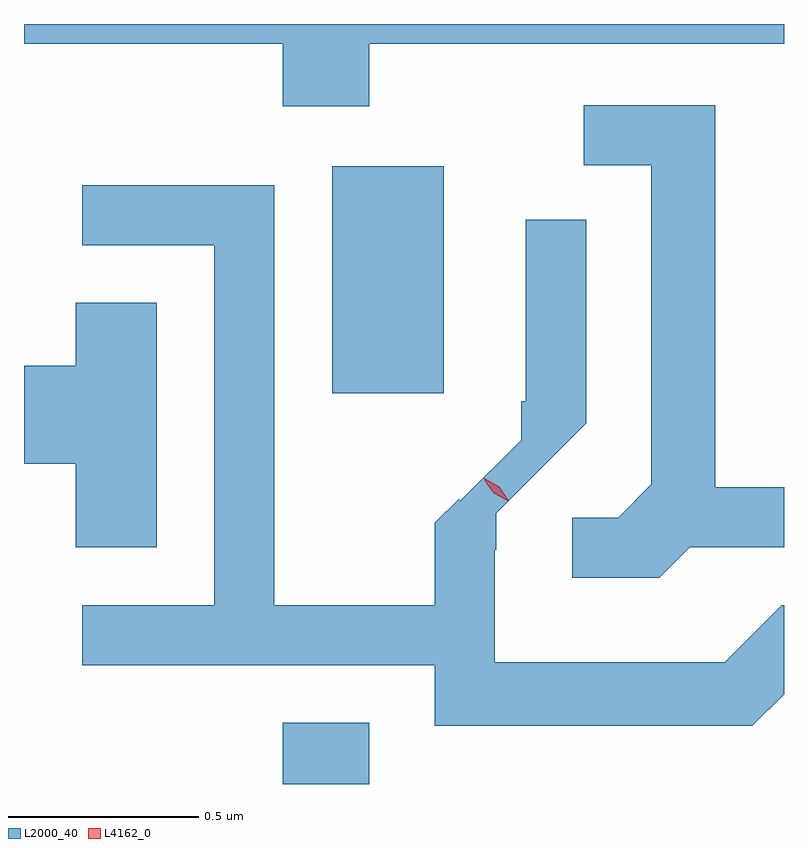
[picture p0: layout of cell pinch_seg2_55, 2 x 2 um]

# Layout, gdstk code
import gdstk
lib = gdstk.Library(unit=1e-6, precision=1e-09)
def R(c, l, rs):  # rectangles x0, y0, x1, y1
    for r in rs: c.add(gdstk.rectangle(r[:2], r[2:], *l))
def P(c, l, *ps):  # polygons
    for p in ps: c.add(gdstk.Polygon(p, *l))
L2000_40 = (2000, 40)
L4162_0 = (4162, 0)

pinch_seg2_55 = lib.new_cell('pinch_seg2_55')
R(pinch_seg2_55, L2000_40, [(1221.871,1088.548,1222.099,1088.709), (1222.001,1089.576,1222.294,1090.174)])
P(pinch_seg2_55, L2000_40, [(1222.099,1090.496),(1223.19,1090.496),(1223.19,1090.548),(1221.19,1090.548),(1221.19,1090.496),(1221.871,1090.496),(1221.871,1090.331),(1222.099,1090.331)],
  [(1222.942,1089.171),(1223.19,1089.171),(1223.19,1089.329),(1223.009,1089.329),(1223.009,1090.334),(1222.663,1090.334),(1222.663,1090.176),(1222.841,1090.176),(1222.841,1089.337),(1222.754,1089.249),(1222.633,1089.249),(1222.633,1089.091),(1222.862,1089.091)],
  [(1223.19,1088.784),(1223.19,1089.019),(1223.184,1089.019),(1223.034,1088.869),(1222.429,1088.869),(1222.429,1089.165),(1222.433,1089.165),(1222.433,1089.261),(1222.669,1089.497),(1222.669,1090.033),(1222.511,1090.033),(1222.511,1089.555),(1222.498,1089.555),(1222.498,1089.453),(1222.338,1089.294),(1222.334,1089.298),(1222.271,1089.236),(1222.271,1089.019),(1221.849,1089.019),(1221.849,1090.124),(1221.343,1090.124),(1221.343,1089.966),(1221.691,1089.966),(1221.691,1089.019),(1221.343,1089.019),(1221.343,1088.861),(1222.271,1088.861),(1222.271,1088.701),(1223.107,1088.701)],
  [(1221.539,1089.814),(1221.326,1089.814),(1221.326,1089.649),(1221.19,1089.649),(1221.19,1089.391),(1221.326,1089.391),(1221.326,1089.171),(1221.539,1089.171)])
P(pinch_seg2_55, L4162_0, [(1222.466,1089.292),(1222.427,1089.315),(1222.4,1089.352),(1222.4,1089.352),(1222.401,1089.352),(1222.44,1089.33),(1222.466,1089.293),(1222.466,1089.292)],
  [(1222.46,1089.295),(1222.426,1089.313),(1222.403,1089.346),(1222.403,1089.346),(1222.404,1089.346),(1222.439,1089.328),(1222.461,1089.296),(1222.461,1089.295)])

lib.write_gds('pinch_seg2_55.gds')
